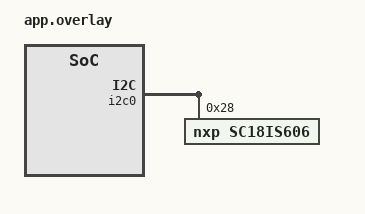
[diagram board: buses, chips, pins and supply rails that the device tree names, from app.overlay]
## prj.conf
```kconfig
CONFIG_TEST=y
CONFIG_TEST_USERSPACE=y
CONFIG_SPI=y
CONFIG_SPI_PERIPHERAL=y
```

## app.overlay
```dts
/*
 * Copyright (c) 2025 tinyvision.ai
 *
 * SPDX-License-Identifier: Apache-2.0
 */

&i2c0 {
	status = "okay";

	sc18is606: sc18is606@28 {
		compatible = "nxp,sc18is606";
		reg = <0x28>;
		status = "okay";

		spi_ext: sc18is606_spi {
			compatible = "nxp,sc18is606-spi";
			#address-cells = <1>;
			#size-cells = <0>;
			frequency = <0>;
			status = "okay";
		};
	};
};
```

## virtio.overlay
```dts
/*
 * SPDX-FileCopyrightText: Copyright The Zephyr Project Contributors
 *
 * SPDX-License-Identifier: Apache-2.0
 *
 * Application overlay for testing the VIRTIO SPI driver build
 */

&virtio_mmio1 {
	status = "okay";

	test_spi_virtio: virtio-spi {
		compatible = "virtio,spi";
		#address-cells = <1>;
		#size-cells = <0>;
		status = "okay";
	};
};
```

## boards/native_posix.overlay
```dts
/*
* Copyright (c) 2025 tinyvision.ai
*
* SPDX-License-Identifier: Apache-2.0
*
*/

/ {
	i2c0: i2c@88888880 {
		status = "okay";
		spi0: spi0@0 {
			compatible = "nxp, sc18is606";
			reg = <0x28>;
			status = "okay";
			#size-cells = 0;
			#address-cells = 1;
			clock-frequency = 100000;
		};
	};
};
```

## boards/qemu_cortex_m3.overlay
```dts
/*
 * Copyright (c) 2025 Meta Platforms
 *
 * SPDX-License-Identifier: Apache-2.0
 */

/ {
	spi1: spi@44a00000 {
		compatible = "adi,axi-spi-engine";
		reg = <0x44a00000 0x1000>;
		#address-cells = <1>;
		#size-cells = <0>;
		adi,ref-clock-hz = <160000000>;
	};

	spi0: spi@88888888 {
		compatible = "cdns,spi";
		reg = <0x88888888 0x400>;
		#address-cells = <1>;
		#size-cells = <0>;
		interrupt-parent = <&nvic>;
		interrupts = <4 1>;
		fifo-width = <8>;
		rx-fifo-depth = <256>;
		tx-fifo-depth = <256>;
		clock-frequency = <100000000>;
	};

	spi1: spi@88889000 {
		compatible = "spinalhdl,spi-xdr-master-ctrl";
		reg = <0x88889000 0x1000>;
		#address-cells = <1>;
		#size-cells = <0>;
		clock-frequency = <100000000>;
	};
};
```

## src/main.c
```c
/*
 * Copyright (c) 2025 Meta Platforms
 *
 * SPDX-License-Identifier: Apache-2.0
 */

int main(void)
{
	return 0;
}
```
